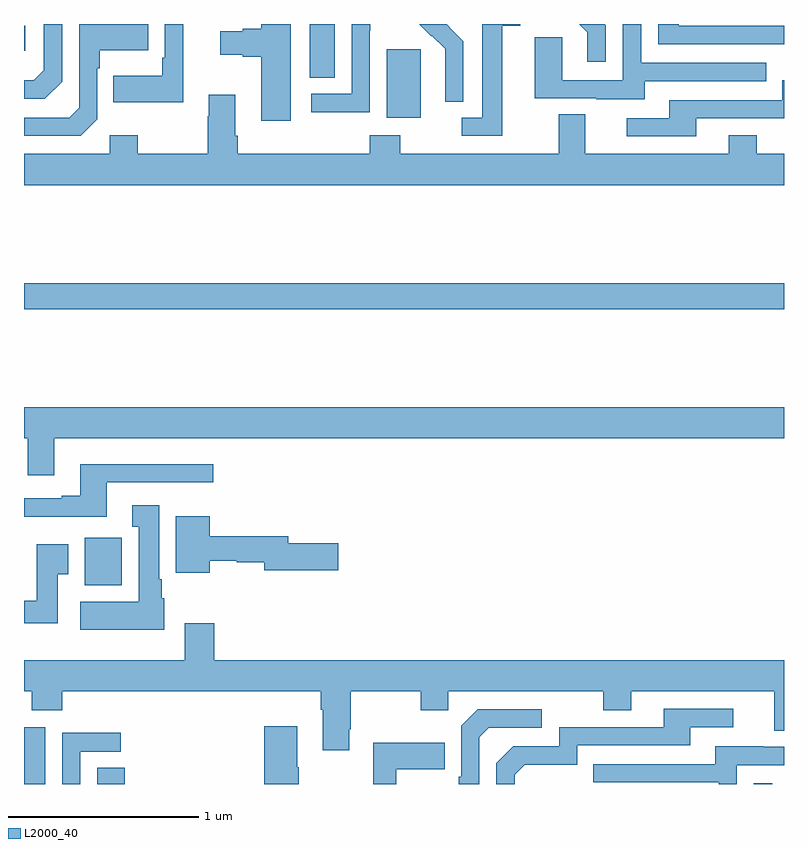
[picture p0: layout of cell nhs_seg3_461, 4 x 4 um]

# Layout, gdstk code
import gdstk
lib = gdstk.Library(unit=1e-6, precision=1e-09)
def R(c, l, rs):  # rectangles x0, y0, x1, y1
    for r in rs: c.add(gdstk.rectangle(r[:2], r[2:], *l))
def P(c, l, *ps):  # polygons
    for p in ps: c.add(gdstk.Polygon(p, *l))
L2000_40 = (2000, 40)

nhs_seg3_461 = lib.new_cell('nhs_seg3_461')
R(nhs_seg3_461, L2000_40, [(133,728.4,133.111,728.698), (133.385,728.4,133.529,728.486), (136.842,728.4,136.939,728.404), (133.319,729.446,133.515,729.697), (133,730.9,137,731.036), (134.909,731.906,135.088,732.267), (134.504,732.118,134.635,732.4), (133,732.26,133.006,732.39)])
P(nhs_seg3_461, L2000_40, [(133.2,732.096),(133.2,732.4),(133.104,732.4),(133.104,732.156),(133.051,732.103),(133,732.103),(133,732.006),(133.11,732.006)],
  [(136.267,732.099),(136.907,732.099),(136.907,732.195),(136.248,732.195),(136.248,732.4),(136.152,732.4),(136.152,732.105),(135.834,732.105),(135.834,732.329),(135.689,732.329),(135.689,732.009),(136.013,732.009),(136.013,732.005),(136.267,732.005)],
  [(134.404,732.4),(134.249,732.4),(134.249,732.374),(134.15,732.374),(134.15,732.361),(134.034,732.361),(134.034,732.239),(134.15,732.239),(134.15,732.227),(134.249,732.227),(134.249,731.892),(134.404,731.892)],
  [(137,732.39),(136.447,732.39),(136.447,732.4),(136.338,732.4),(136.338,732.294),(137,732.294)],
  [(135.312,732.31),(135.239,732.383),(135.24,732.384),(135.224,732.4),(135.08,732.4),(135.144,732.336),(135.147,732.339),(135.218,732.269),(135.218,732.146),(135.216,732.146),(135.216,731.992),(135.312,731.992)],
  [(134.82,732.364),(134.823,732.364),(134.823,732.4),(134.724,732.4),(134.724,732.033),(134.511,732.033),(134.511,731.935),(134.82,731.935)],
  [(133.386,731.898),(133.386,732.167),(133.399,732.167),(133.399,732.263),(133.655,732.263),(133.655,732.4),(133.29,732.4),(133.29,731.958),(133.239,731.907),(133,731.907),(133,731.811),(133.299,731.811)],
  [(133.838,732.4),(133.74,732.4),(133.74,732.223),(133.728,732.223),(133.728,732.127),(133.471,732.127),(133.471,731.987),(133.838,731.987)],
  [(135.517,732.392),(135.613,732.392),(135.613,732.4),(135.413,732.4),(135.413,731.907),(135.303,731.907),(135.303,731.811),(135.517,731.811)],
  [(136.062,732.394),(136.056,732.4),(135.922,732.4),(135.965,732.357),(135.965,732.201),(136.062,732.201)],
  [(136.537,731.904),(137,731.904),(137,732.103),(136.992,732.103),(136.992,732),(136.397,732),(136.397,731.904),(136.173,731.904),(136.173,731.808),(136.537,731.808)],
  [(137,731.716),(136.857,731.716),(136.857,731.815),(136.709,731.815),(136.709,731.716),(135.955,731.716),(135.955,731.924),(135.815,731.924),(135.815,731.716),(134.979,731.716),(134.979,731.815),(134.819,731.815),(134.819,731.716),(134.126,731.716),(134.126,731.812),(134.113,731.812),(134.113,732.028),(133.973,732.028),(133.973,731.915),(133.966,731.915),(133.966,731.716),(133.599,731.716),(133.599,731.815),(133.452,731.815),(133.452,731.716),(133,731.716),(133,731.552),(137,731.552)],
  [(133.159,730.22),(137,730.22),(137,730.384),(133,730.384),(133,730.22),(133.019,730.22),(133.019,730.026),(133.159,730.026)],
  [(133.435,729.987),(133.996,729.987),(133.996,730.084),(133.295,730.084),(133.295,729.916),(133.199,729.916),(133.199,729.903),(133,729.903),(133,729.806),(133.435,729.806)],
  [(133.738,729.378),(133.726,729.378),(133.726,729.478),(133.711,729.478),(133.711,729.868),(133.571,729.868),(133.571,729.755),(133.604,729.755),(133.604,729.358),(133.295,729.358),(133.295,729.212),(133.738,729.212)],
  [(133.978,729.576),(134.121,729.576),(134.121,729.568),(134.264,729.568),(134.264,729.526),(134.653,729.526),(134.653,729.668),(134.392,729.668),(134.392,729.704),(133.978,729.704),(133.978,729.808),(133.799,729.808),(133.799,729.512),(133.978,729.512)],
  [(133.177,729.505),(133.234,729.505),(133.234,729.661),(133.067,729.661),(133.067,729.364),(133,729.364),(133,729.246),(133.177,729.246)],
  [(134.713,728.689),(134.721,728.689),(134.721,728.888),(135.088,728.888),(135.088,728.789),(135.234,728.789),(135.234,728.888),(136.048,728.888),(136.048,728.789),(136.195,728.789),(136.195,728.888),(136.949,728.888),(136.949,728.68),(137,728.68),(137,729.052),(134,729.052),(134,729.247),(133.847,729.247),(133.847,729.052),(133,729.052),(133,728.888),(133.042,728.888),(133.042,728.789),(133.202,728.789),(133.202,728.888),(134.561,728.888),(134.561,728.792),(134.573,728.792),(134.573,728.577),(134.713,728.577)],
  [(135.582,728.448),(135.635,728.501),(135.912,728.501),(135.912,728.604),(136.507,728.604),(136.507,728.7),(136.732,728.7),(136.732,728.796),(136.367,728.796),(136.367,728.7),(135.816,728.7),(135.816,728.598),(135.576,728.598),(135.486,728.508),(135.486,728.4),(135.582,728.4)],
  [(135.396,728.646),(135.447,728.697),(135.724,728.697),(135.724,728.793),(135.387,728.793),(135.3,728.706),(135.3,728.437),(135.288,728.437),(135.288,728.4),(135.396,728.4)],
  [(134.445,728.489),(134.437,728.489),(134.437,728.704),(134.264,728.704),(134.264,728.4),(134.445,728.4)],
  [(133.296,728.571),(133.51,728.571),(133.51,728.67),(133.2,728.67),(133.2,728.4),(133.296,728.4)],
  [(134.959,728.477),(135.215,728.477),(135.215,728.617),(134.838,728.617),(134.838,728.4),(134.959,728.4)],
  [(136.752,728.499),(137,728.499),(137,728.595),(136.891,728.595),(136.891,728.599),(136.637,728.599),(136.637,728.505),(135.997,728.505),(135.997,728.409),(136.656,728.409),(136.656,728.4),(136.752,728.4)])

lib.write_gds('nhs_seg3_461.gds')
